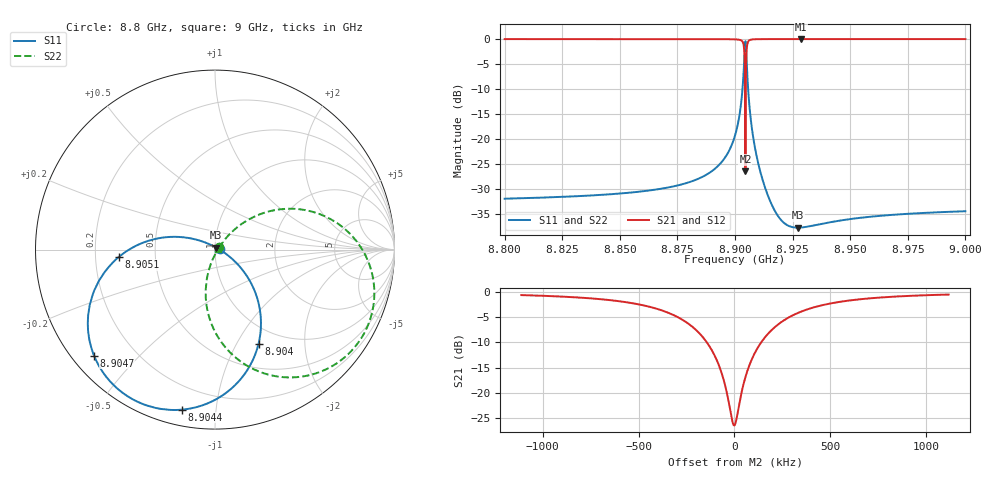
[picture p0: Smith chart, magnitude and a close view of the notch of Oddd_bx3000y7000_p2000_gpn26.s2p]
! Sonnet Data File
! From: emgraph Version : 16.52
! From Project: Resonator2_cp
! Data is De-embedded
! Data File Written: 10/06/2017 09:05:50
!< HDATE 10/05/2017 15:28:06
!< MDATE 10/05/2017 15:28:06
!< PARAMS
!< gap = 26.0
!< Length = 400.0
!< Pwid1 = 2000.0
!< Pwid2 = 2000.0
!< END PARAMS
# GHZ S MA R 35.97000
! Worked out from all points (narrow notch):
!   1595 points, 8.8 GHz to 9 GHz, reference 35.97 ohm
!   highest |S21| = 0.00 dB at 8.9288 GHz (marker M1); lowest = -26.4 dB at 8.9045 GHz (marker M2)
!   notch at M2: 26.4 dB deep, 188 kHz wide at half that depth
!   lowest |S11| = -37.7 dB at 8.9272 GHz (marker M3), VSWR 1.03, Z = 36.4 + j0.833 ohm
!   |S11| at or under -10 dB: start of sweep to 8.9032 GHz; 8.9057 GHz to end of sweep
!   |S22| runs from -37.7 to -0.4 dB; largest |S21 - S12| = 0
!   S11 on the Smith chart (normalised r, x): 8.8 GHz: 1.05, +0.00; 8.904 GHz: 0.78, -1.24; 8.9044 GHz: 0.08, -0.81; 8.9047 GHz: 0.06, -0.37; 8.9051 GHz: 0.30, -0.03; 9 GHz: 1.04, +0.01
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8.8  0.02543 1.6  0.9997 -74.9  0.9997 -74.9  0.02543 28.6
!< P1 F=8.8 Eeff=(5.36817953 -2.3731e-5) Z0=(35.9853883 8.0522e-5) R=0.0 C=0.0
!< P2 F=8.8 Eeff=(5.36817953 -2.3731e-5) Z0=(35.9853883 8.0522e-5) R=0.0 C=0.0
8.8334  0.02707 -0.8  0.9996 -75.3  0.9996 -75.3  0.02707 30.2
8.8668  0.03167 -5.9  0.9995 -75.9  0.9995 -75.9  0.03168 34.1
8.889179  0.04656 -15.1  0.9989 -77.0  0.9989 -77.0  0.04658 41.0
8.9  0.1086 -28.4  0.9937 -80.7  0.9937 -80.7  0.1087 46.6
8.902797  0.2458 -40.8  0.9666 -88.8  0.9666 -88.8  0.246 42.0
8.903958  0.5788 -65.2  0.7954 -109.9  0.7954 -109.9  0.5795 21.4
8.904242  0.7902 -84.4  0.5602 -126.6  0.5602 -126.6  0.7912 3.3
8.904404  0.911 -101.8  0.2946 -138.8  0.2946 -138.8  0.9122 -13.5
8.904537  0.9517 -119.0  0.04766 -72.5  0.04766 -72.5  0.953 -30.3
8.904605  0.9397 -128.1  0.1637 -10.4  0.1637 -10.4  0.9409 -39.1
8.904689  0.8959 -138.8  0.3389 -11.9  0.3389 -11.9  0.8971 -49.5
8.905149  0.5371 -175.6  0.825 -42.1  0.825 -42.1  0.5378 -84.6
8.905839  0.2835 165.9  0.9542 -58.1  0.9542 -58.1  0.2839 -100.3
8.907603  0.1156 151.6  0.9924 -68.0  0.9924 -68.0  0.1158 -106.8
8.912639  0.03508 131.2  0.9993 -72.8  0.9993 -72.8  0.03517 -96.4
8.919428  0.01614 97.6  0.9998 -74.2  0.9998 -74.2  0.0162 -65.7
8.927194  0.01306 61.1  0.9999 -74.8  0.9999 -74.8  0.01309 -30.6
8.9288  0.01311 55.8  0.9999 -74.8  0.9999 -74.8  0.01314 -25.4
8.9334  0.01362 44.2  0.9999 -75.0  0.9999 -75.0  0.01364 -14.3
8.9668  0.01743 18.5  0.9998 -75.8  0.9998 -75.8  0.01743 10.0
9  0.01906 12.8  0.9998 -76.2  0.9998 -76.2  0.01906 14.8
